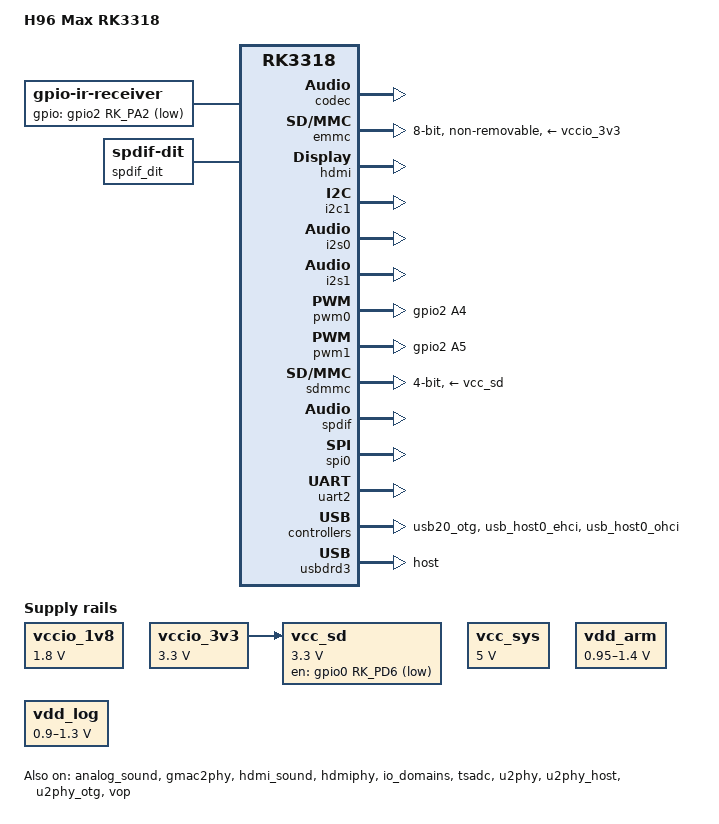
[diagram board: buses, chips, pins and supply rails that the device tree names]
// SPDX-License-Identifier: (GPL-2.0+ OR MIT)
/*
 * Copyright (c) 2017 PINE64
 */

/dts-v1/;
#include "rk3328.dtsi"

/ {
	model = "H96 Max RK3318";
	compatible = "rockchip,h96-max", "rockchip,rk3318";

	aliases {
		mmc0 = &emmc;
		mmc1 = &sdmmc;
		mmc2 = &sdio;
	};

	chosen {
		stdout-path = "serial2:1500000n8";
	};

	
	vccio_1v8: vccio-1v8-regulator {
		compatible = "regulator-fixed";
		regulator-name = "vccio_1v8";
		regulator-min-microvolt = <1800000>;
		regulator-max-microvolt = <1800000>;
		regulator-always-on;
	};

	vccio_3v3: vccio-3v3-regulator {
		compatible = "regulator-fixed";
		regulator-name = "vccio_3v3";
		regulator-min-microvolt = <3300000>;
		regulator-max-microvolt = <3300000>;
		regulator-always-on;
	};

	// vcc_otg_vbus: otg-vbus-regulator {
	// 	compatible = "regulator-fixed";
	// 	gpio = <&gpio0 RK_PA2 GPIO_ACTIVE_HIGH>;
	// 	pinctrl-0 = <&otg_vbus_drv>;
	// 	pinctrl-names = "default";
	// 	regulator-name = "vcc_otg_vbus";
	// 	regulator-min-microvolt = <5000000>;
	// 	regulator-max-microvolt = <5000000>;
	// 	enable-active-high;
	// };

	vcc_sd: sdmmc-regulator {   
		compatible = "regulator-fixed";
		gpio = <&gpio0 RK_PD6 GPIO_ACTIVE_LOW>;
		pinctrl-0 = <&sdmmc0m1_pin>;
		pinctrl-names = "default";
		regulator-name = "vcc_sd";
		regulator-min-microvolt = <3300000>;
		regulator-max-microvolt = <3300000>;
		vin-supply = <&vccio_3v3>;
	};

	// vcc_host_5v: vcc-host-5v-regulator {
	// 	compatible = "regulator-fixed";
	// 	gpio = <&gpio0 RK_PA2 GPIO_ACTIVE_LOW>;
	// 	pinctrl-names = "default";
	// 	pinctrl-0 = <&host_vbus_drv>;
	// 	regulator-name = "vcc_host_5v";
	// 	regulator-always-on;
	// 	regulator-boot-on;
	// 	vin-supply = <&vcc_sys>;
	// };

	vcc_sys: vcc-sys {
		compatible = "regulator-fixed";
		regulator-name = "vcc_sys";
		regulator-always-on;
		regulator-boot-on;
		regulator-min-microvolt = <5000000>;
		regulator-max-microvolt = <5000000>;
	};

	vdd_arm: vdd-arm {
		compatible = "pwm-regulator";
		pwms = <&pwm0 0 5000 1>;
		regulator-name = "vdd_arm";
		regulator-min-microvolt = <950000>;
		regulator-max-microvolt = <1400000>;
		regulator-settling-time-up-us = <250>;
		regulator-always-on;
		regulator-boot-on;
	};

	vdd_log: vdd-log {
		compatible = "pwm-regulator";
		pwms = <&pwm1 0 5000 1>;
		regulator-name = "vdd_log";
		regulator-min-microvolt = <900000>;
		regulator-max-microvolt = <1300000>;
		regulator-settling-time-up-us = <250>;
		regulator-always-on;
		regulator-boot-on;
	};

	ir-receiver {
		compatible = "gpio-ir-receiver";
		gpios = <&gpio2 RK_PA2 GPIO_ACTIVE_LOW>;
		pinctrl-0 = <&ir_int>;
		pinctrl-names = "default";
	};

	leds {
		compatible = "gpio-leds";
	};

	spdif_sound: spdif-sound {
		compatible = "simple-audio-card";
		simple-audio-card,name = "SPDIF";

		simple-audio-card,cpu {
			sound-dai = <&spdif>;
		};

		simple-audio-card,codec {
			sound-dai = <&spdif_dit>;
		};
	};

	spdif_dit: spdif-dit {
		compatible = "linux,spdif-dit";
		#sound-dai-cells = <0>;
	};
};

&analog_sound {
	status = "okay";
};

&codec {
	mute-gpios = <&grf_gpio 0 GPIO_ACTIVE_LOW>;
	status = "okay";
};

&cpu0 {
	cpu-supply = <&vdd_arm>;
};

&cpu1 {
	cpu-supply = <&vdd_arm>;
};

&cpu2 {
	cpu-supply = <&vdd_arm>;
};

&cpu3 {
	cpu-supply = <&vdd_arm>;
};

&emmc {
	bus-width = <8>;
	cap-mmc-highspeed;
	mmc-hs200-1_8v;
	non-removable;
	pinctrl-names = "default";
	pinctrl-0 = <&emmc_clk &emmc_cmd &emmc_bus8>;
	vmmc-supply = <&vccio_3v3>;
	vqmmc-supply = <&vccio_1v8>;
	status = "okay";
};

&gmac2phy {
	assigned-clock-parents = <&cru SCLK_MAC2PHY_SRC>;
	assigned-clock-rate = <50000000>;
	assigned-clocks = <&cru SCLK_MAC2PHY>;
	status = "okay";
};

&hdmi {
	status = "okay";
};

&hdmi_sound {
	status = "okay";
};

&hdmiphy {
	status = "okay";
};

&i2c1 {
	status = "okay";
};

&i2s0 {
	status = "okay";
};

&i2s1 {
	status = "okay";
};

&io_domains {
	pmuio-supply = <&vccio_3v3>;
	vccio1-supply = <&vccio_3v3>;
	vccio2-supply = <&vccio_1v8>;
	vccio3-supply = <&vccio_3v3>;
	vccio4-supply = <&vccio_1v8>;
	vccio5-supply = <&vccio_3v3>;
	vccio6-supply = <&vccio_3v3>;
	status = "okay";
};

&pinctrl {
	ir {
		ir_int: ir-int {
			rockchip,pins = <2 RK_PA2 RK_FUNC_GPIO &pcfg_pull_none>;
		};
	};

	pwm0 {
		pwm0_pin_pull_up: pwm0-pin-pull-up {
			rockchip,pins = <2 RK_PA4 1 &pcfg_pull_up>;
		};
	};

	pwm1 {
		pwm1_pin_pull_up: pwm1-pin-pull-up {
			rockchip,pins = <2 RK_PA5 1 &pcfg_pull_up>;
		};
	};

	// usb {
	// 	host_vbus_drv: host-vbus-drv {
	// 		rockchip,pins = <0 RK_PA0 RK_FUNC_GPIO &pcfg_pull_none>;
	// 	};

	// 	otg_vbus_drv: otg-vbus-drv {
	// 		rockchip,pins = <0 RK_PA2 RK_FUNC_GPIO &pcfg_pull_none>;
	// 	};
	// };
};

&pwm0 {
	pinctrl-0 = <&pwm0_pin_pull_up>;
	pinctrl-names = "active";
	status = "okay";
};

&pwm1 {
	pinctrl-0 = <&pwm1_pin_pull_up>;
	pinctrl-names = "active";
	status = "okay";
};

&sdmmc {
	bus-width = <4>;
	cap-mmc-highspeed;
	cap-sd-highspeed;
	disable-wp;
	max-frequency = <150000000>;
	pinctrl-names = "default";
	pinctrl-0 = <&sdmmc0_clk &sdmmc0_cmd &sdmmc0_dectn &sdmmc0_bus4>;
	vmmc-supply = <&vcc_sd>;
	status = "okay";
};

&spdif {
	pinctrl-0 = <&spdifm0_tx>;
	status = "okay";
};

&spi0 {
	status = "okay";

};

&tsadc {
	rockchip,hw-tshut-mode = <0>;
	rockchip,hw-tshut-polarity = <0>;
	status = "okay";
};

&uart2 {
	status = "okay";
};

&u2phy {
	status = "okay";
};

&u2phy_host {
	status = "okay";
};

&u2phy_otg {
	status = "okay";
};

&usb20_otg {
	status = "okay";
};

&usbdrd3 {
	dr_mode = "host";
	status = "okay";
};

&usb_host0_ehci {
	status = "okay";
};

&usb_host0_ohci {
	status = "okay";
};

&vop {
	status = "okay";
};

&vop_mmu {
	status = "okay";
};
